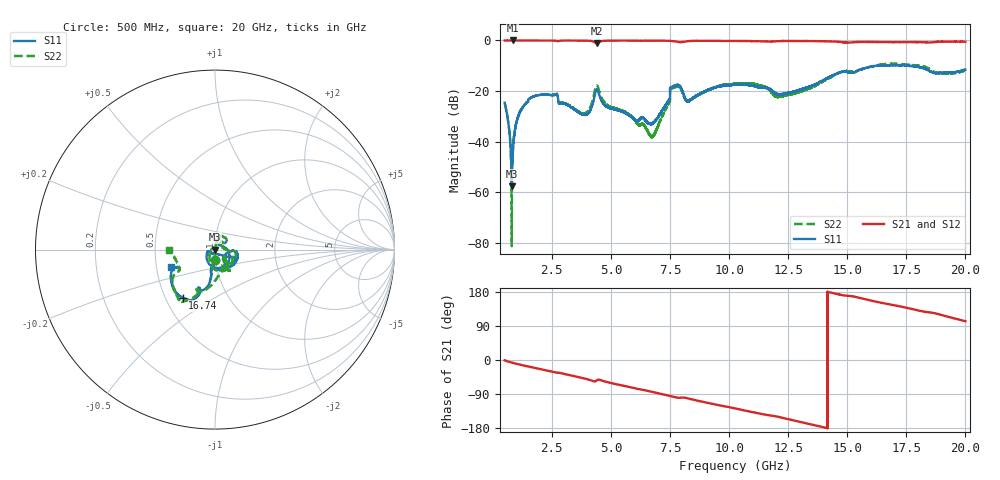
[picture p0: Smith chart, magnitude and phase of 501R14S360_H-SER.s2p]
!{501R14S360}
!Johanson Technology Inc.
!www.johansontechnology.com
!Test Board Conditions:
!Substrate Type  RO4350B
!Substrate Thickness  20 mil
!Substrate Dk  3.66
!TL Type: GCPW
!TL Trace Width  36 mil
!TL Gap  12 mil
!Electrode orientation  Horizontal
!DUT TOPOLOGY	SERIES
!Mounting Pad LxW  26x36 mil
! Created Wed Mar 11 16:07:11 2020
# mhz S ma R 50
! 2 Port Network Data from SP1.SP block
! freq  magS11  angS11  magS21  angS21  magS12  angS12  magS22  angS22
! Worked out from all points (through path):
!   19501 points, 500 MHz to 20 GHz, reference 50 ohm
!   highest |S21| = -0.01 dB at 834 MHz (marker M1); lowest = -1.2 dB at 4.396 GHz (marker M2)
!   group delay of S21, straight-line fit = 35.7 ps
!   lowest |S11| = -57.6 dB at 811 MHz (marker M3), VSWR 1.00, Z = 50.1 + j0.0378 ohm
!   |S11| at or under -10 dB: start of sweep to 16.29 GHz; 16.28967 GHz to 16.2934 GHz (3.733 MHz wide, 0.0229 % of centre); 17.62 GHz to end of sweep (the widest 3 of 9)
!   |S22| runs from -81.3 to -9.2 dB; largest |S21 - S12| = 0.021
!   S11 on the Smith chart (normalised r, x): 500 MHz: 0.99, -0.12; 16.74 GHz: 0.61, -0.37; 20 GHz: 0.60, -0.12
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500  0.05909 -89.3  0.9962 -0.8  0.9956 -0.7  0.0592 -89.7
627  0.02998 -90.8  0.9972 -3.5  0.9975 -3.5  0.0297 -92.5
737  0.01062 -87.9  0.9979 -5.6  0.9987 -5.6  0.00982 -93.9
811  0.001313 16.7  0.9971 -6.9  0.9982 -6.9  0.001417 71.0
834  0.003976 61.2  0.9994 -7.3  0.9984 -7.2  0.004333 81.9
1060  0.03011 76.4  0.9977 -10.9  0.9984 -10.9  0.03056 78.9
1598  0.07302 70.2  0.9956 -18.6  0.9959 -18.6  0.07355 71.8
2652  0.08486 52.6  0.9887 -32.9  0.9883 -32.9  0.08602 55.5
3750  0.03558 49.8  0.9932 -46.9  0.9932 -46.9  0.03701 29.8
4081  0.038 36.9  0.9855 -52.2  0.9846 -52.2  0.04316 11.4
4396  0.1068 -60.8  0.8759 -54.1  0.8764 -54.1  0.1298 -57.3
4836  0.04876 -157.3  0.9872 -58.2  0.987 -58.2  0.05346 -124.2
6688  0.02245 -99.1  0.9914 -83.3  0.9906 -83.2  0.01305 124.5
7000  0.03091 -57.9  0.9903 -87.6  0.9912 -87.6  0.02086 45.5
7598  0.121 -23.2  0.97 -96.3  0.9714 -96.3  0.1152 -8.0
8275  0.06338 -29.4  0.9688 -101.5  0.9676 -101.5  0.06467 -41.0
10250  0.1338 -20.5  0.9789 -127.8  0.9787 -127.7  0.1395 -56.6
12070  0.0866 -95.0  0.9663 -149.9  0.9681 -149.7  0.07756 -50.3
13500  0.1256 -100.0  0.9697 -170.2  0.9743 -170.3  0.1175 -72.6
16738  0.3235 -123.7  0.9275 147.5  0.9206 147.0  0.3473 -123.0
16750  0.3227 -123.7  0.9268 147.3  0.9202 146.9  0.3467 -123.0
20000  0.2642 -158.5  0.944 102.3  0.9459 102.5  0.2556 -179.9
